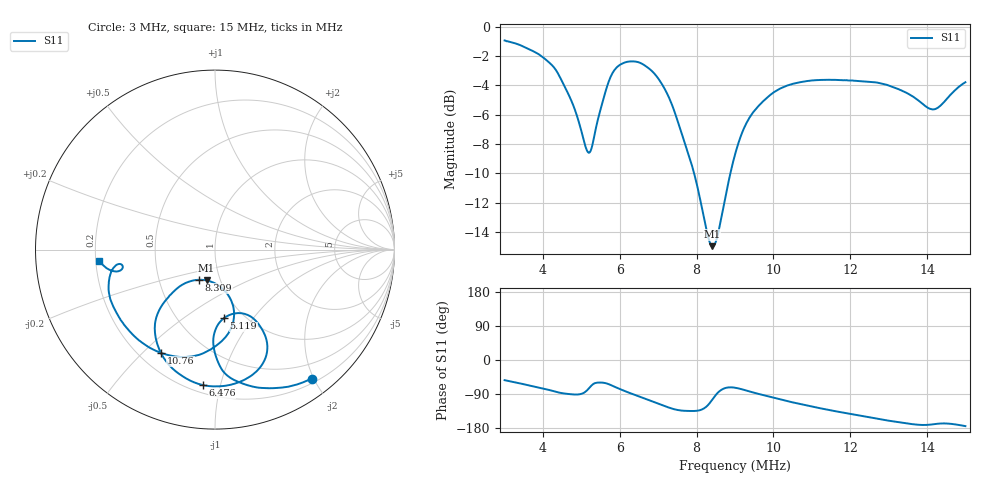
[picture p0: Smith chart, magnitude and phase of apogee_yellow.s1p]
# Hz S RI R 50
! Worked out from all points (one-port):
!   505 points, 3 MHz to 15 MHz, reference 50 ohm
!   lowest |S11| = -15.0 dB at 8.405 MHz (marker M1), VSWR 1.43, Z = 43 - j15.3 ohm
!   |S11| at or under -10 dB: 7.934 MHz to 8.88 MHz (946.2 kHz wide, 11.3 % of centre)
!   S11 on the Smith chart (normalised r, x): 3 MHz: 0.26, -1.97; 5.119 MHz: 0.81, -0.73; 6.476 MHz: 0.25, -0.88; 8.309 MHz: 0.80, -0.28; 10.76 MHz: 0.29, -0.57; 15 MHz: 0.21, -0.05
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3000000  0.5378 -0.7197
3904700  0.2351 -0.7682
4261800  0.1047 -0.7256
4523700  0.0229 -0.6399
4880900  -0.00943 -0.4979
5119000  0.0492 -0.3825
5309400  0.1829 -0.3643
5595109  0.2872 -0.5048
5761809  0.2758 -0.6166
6023709  0.1601 -0.7272
6476109  -0.0689 -0.7546
7047509  -0.2993 -0.5799
7523709  -0.3156 -0.3472
7928418  -0.2232 -0.2267
8309318  -0.0878 -0.1683
8404618  -0.0467 -0.172
8547418  0.0108 -0.1938
9023618  0.1068 -0.3603
9714118  -0.0196 -0.5538
1.052363e7  -0.2431 -0.5916
1.076173e7  -0.3017 -0.5747
1.202353e7  -0.5208 -0.3981
1.283304e7  -0.5898 -0.248
1.352354e7  -0.5769 -0.1209
1.390444e7  -0.5373 -0.0804
1.423784e7  -0.5152 -0.1031
1.459494e7  -0.5708 -0.1191
1.499974e7  -0.6439 -0.0623
